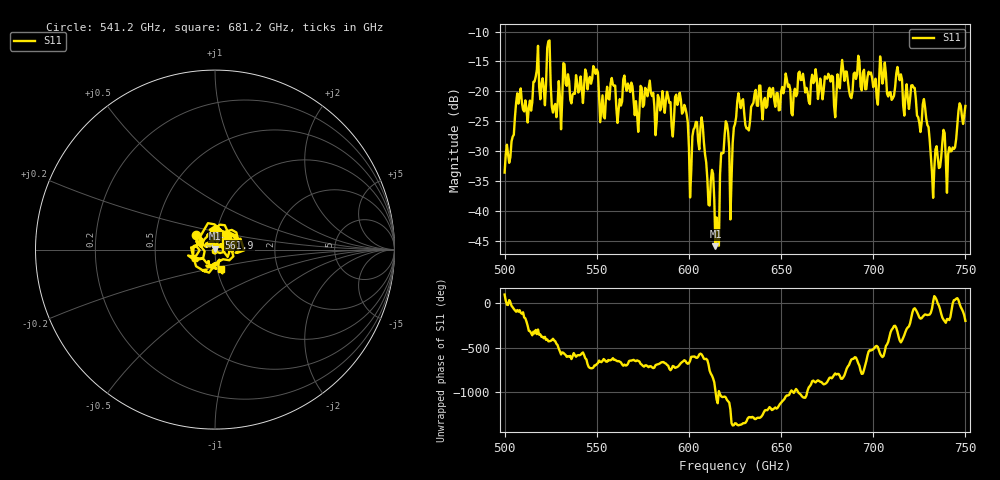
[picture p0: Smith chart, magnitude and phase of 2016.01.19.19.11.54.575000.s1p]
!Created with skrf (http://scikit-rf.org).
# GHz S RI R 50.0
!freq ReS11 ImS11
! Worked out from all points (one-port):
!   401 points, 500 GHz to 750 GHz, reference 50 ohm
!   lowest |S11| = -45.8 dB at 614.4 GHz (marker M1), VSWR 1.01, Z = 49.9 + j0.5 ohm
!   |S11| at or under -10 dB: start of sweep to end of sweep
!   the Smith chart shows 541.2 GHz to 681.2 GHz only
!   S11 on the Smith chart (normalised r, x): 541.2 GHz: 0.80, +0.13; 561.9 GHz: 1.03, +0.14; 681.2 GHz: 1.04, -0.23
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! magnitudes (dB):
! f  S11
! 500 GHz  -33.5
! 507.5 GHz  -22.0
! 513.8 GHz  -21.5
! 516.9 GHz  -17.5
! 526.9 GHz  -22.4
! 531.2 GHz  -21.4
! 541.2 GHz  -17.5
! 549.4 GHz  -17.1
! 553.1 GHz  -20.7
! 558.8 GHz  -18.9
! 561.9 GHz  -23.0
! 562.5 GHz  -21.3
! 593.8 GHz  -22.3
! 600.6 GHz  -37.7
! 607.5 GHz  -25.7
! 614.4 GHz  -45.8
! 615.6 GHz  -43.7
! 619.4 GHz  -27.3
! 623.1 GHz  -34.4
! 625 GHz  -25.4
! 656.2 GHz  -24.0
! 681.2 GHz  -18.8
! 687.5 GHz  -20.8
! 705 GHz  -18.7
! 718.8 GHz  -21.1
! 728.1 GHz  -22.7
! 732.5 GHz  -37.8
! 750 GHz  -22.4
